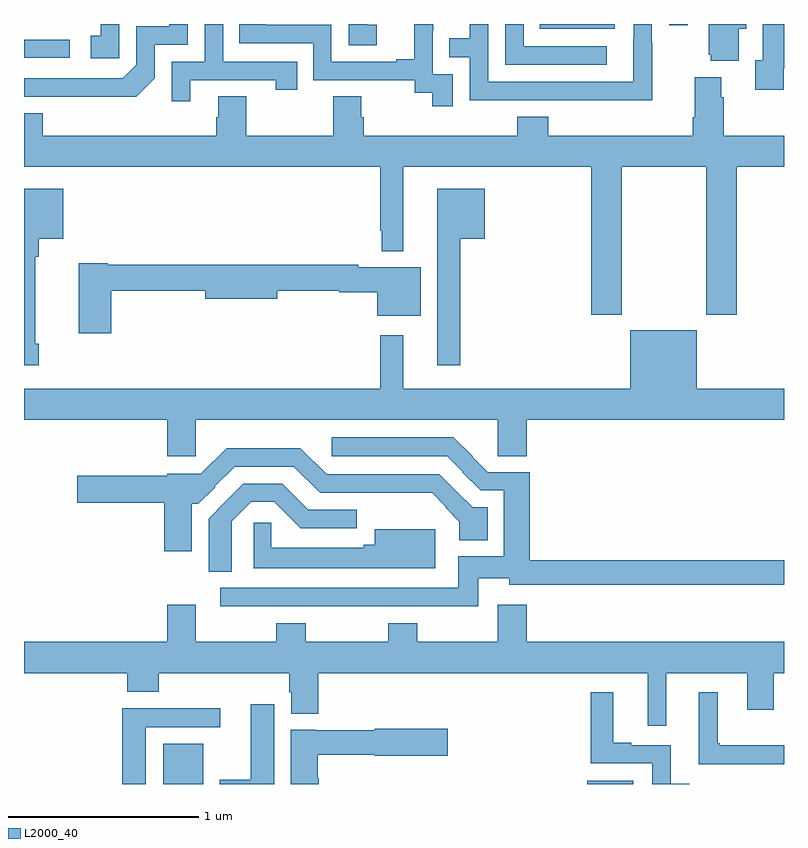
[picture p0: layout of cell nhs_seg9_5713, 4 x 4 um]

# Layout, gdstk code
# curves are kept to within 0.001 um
import gdstk
lib = gdstk.Library(unit=1e-6, precision=1e-09)
def R(c, l, rs):  # rectangles x0, y0, x1, y1
    for r in rs: c.add(gdstk.rectangle(r[:2], r[2:], *l))
def P(c, l, *ps):  # polygons
    for p in ps: c.add(gdstk.Polygon(p, *l))
L2000_40 = (2000, 40)

nhs_seg9_5713 = lib.new_cell('nhs_seg9_5713')
R(nhs_seg9_5713, L2000_40, [(443.732,1198.5,443.944,1198.711), (445.964,1198.5,446.206,1198.516), (443,1202.322,443.242,1202.418), (445.714,1202.474,446.11,1202.5), (446.397,1202.493,446.493,1202.5)])
P(nhs_seg9_5713, L2000_40, [(443.688,1202.214),(443.688,1202.391),(443.862,1202.391),(443.862,1202.5),(443.765,1202.5),(443.765,1202.487),(443.592,1202.487),(443.592,1202.286),(443.52,1202.214),(443,1202.214),(443,1202.118),(443.59,1202.117)],
  [(445.257,1202.235),(445.152,1202.235),(445.152,1202.465),(445.154,1202.465),(445.154,1202.5),(445.055,1202.5),(445.055,1202.314),(444.959,1202.314),(444.959,1202.301),(444.618,1202.301),(444.618,1202.496),(444.273,1202.496),(444.273,1202.5),(444.133,1202.5),(444.133,1202.4),(444.522,1202.4),(444.522,1202.205),(445.056,1202.205),(445.056,1202.137),(445.149,1202.137),(445.149,1202.067),(445.257,1202.067)],
  [(446.068,1202.382),(445.629,1202.382),(445.629,1202.5),(445.533,1202.5),(445.533,1202.286),(446.068,1202.286)],
  [(443.502,1202.5),(443.405,1202.5),(443.405,1202.439),(443.352,1202.439),(443.352,1202.319),(443.502,1202.319)],
  [(446.307,1202.405),(446.304,1202.405),(446.304,1202.5),(446.208,1202.5),(446.208,1202.426),(446.207,1202.426),(446.207,1202.196),(445.443,1202.196),(445.443,1202.5),(445.347,1202.5),(445.347,1202.426),(445.237,1202.426),(445.237,1202.325),(445.347,1202.325),(445.347,1202.1),(445.843,1202.1),(445.843,1202.099),(446.307,1202.099)],
  [(443.875,1202.205),(444.326,1202.205),(444.326,1202.154),(444.437,1202.154),(444.437,1202.301),(444.048,1202.301),(444.048,1202.5),(443.952,1202.5),(443.952,1202.301),(443.778,1202.301),(443.778,1202.094),(443.875,1202.094)],
  [(444.856,1202.497),(444.807,1202.497),(444.807,1202.5),(444.708,1202.5),(444.708,1202.388),(444.856,1202.388)],
  [(446.998,1202.266),(447,1202.266),(447,1202.5),(446.889,1202.5),(446.889,1202.31),(446.849,1202.31),(446.849,1202.154),(446.998,1202.154)],
  [(446.761,1202.474),(446.8,1202.474),(446.8,1202.5),(446.603,1202.5),(446.603,1202.337),(446.615,1202.337),(446.615,1202.306),(446.761,1202.306)],
  [(444.023,1202.12),(444.023,1202.01),(444.011,1202.01),(444.011,1201.912),(443.099,1201.912),(443.099,1202.029),(443,1202.029),(443,1201.748),(444.876,1201.748),(444.876,1201.411),(444.883,1201.411),(444.883,1201.304),(444.997,1201.304),(444.997,1201.748),(445.985,1201.748),(445.985,1200.969),(446.145,1200.969),(446.145,1201.748),(446.59,1201.748),(446.59,1200.969),(446.75,1200.969),(446.75,1201.748),(447,1201.748),(447,1201.912),(446.684,1201.912),(446.684,1202.114),(446.671,1202.114),(446.671,1202.221),(446.531,1202.221),(446.531,1202.008),(446.519,1202.008),(446.519,1201.912),(445.76,1201.912),(445.76,1202.011),(445.595,1202.011),(445.595,1201.912),(444.788,1201.912),(444.788,1202.01),(444.775,1202.01),(444.775,1202.12),(444.628,1202.12),(444.628,1201.912),(444.171,1201.912),(444.171,1202.12)],
  [(443.077,1200.817),(443.059,1200.817),(443.059,1201.274),(443.077,1201.274),(443.077,1201.37),(443.206,1201.37),(443.206,1201.633),(443,1201.633),(443,1200.705),(443.077,1200.705)],
  [(445.297,1201.37),(445.426,1201.37),(445.426,1201.633),(445.175,1201.633),(445.175,1200.705),(445.297,1200.705)],
  [(443.459,1201.096),(443.954,1201.096),(443.954,1201.054),(444.334,1201.054),(444.334,1201.096),(444.66,1201.096),(444.66,1201.088),(444.86,1201.088),(444.86,1200.965),(445.087,1200.965),(445.087,1201.219),(444.76,1201.219),(444.76,1201.232),(443.442,1201.232),(443.442,1201.24),(443.288,1201.24),(443.288,1200.873),(443.459,1200.873)],
  [(443.903,1200.416),(445.494,1200.416),(445.494,1200.226),(445.646,1200.226),(445.646,1200.416),(447,1200.416),(447,1200.58),(446.542,1200.58),(446.542,1200.889),(446.192,1200.889),(446.192,1200.58),(444.997,1200.58),(444.997,1200.862),(444.876,1200.862),(444.876,1200.58),(443,1200.58),(443,1200.416),(443.753,1200.416),(443.753,1200.225),(443.903,1200.225)],
  [(444.827,1199.436),(445.39,1199.435),(445.39,1199.582),(445.554,1199.582),(445.554,1199.55),(447,1199.55),(447,1199.678),(445.661,1199.678),(445.661,1200.141),(445.44,1200.141),(445.359,1200.222),(445.361,1200.224),(445.26,1200.325),(444.621,1200.325),(444.621,1200.225),(445.227,1200.225),(445.308,1200.144),(445.306,1200.142),(445.403,1200.045),(445.526,1200.045),(445.526,1199.698),(445.286,1199.698),(445.286,1199.532),(444.033,1199.532),(444.033,1199.436)],
  [(443.884,1199.976),(443.918,1199.976),(444.006,1200.063),(444.003,1200.066),(444.108,1200.171),(444.42,1200.171),(444.558,1200.033),(445.148,1200.032),(445.222,1199.957),(445.219,1199.954),(445.292,1199.881),(445.292,1199.784),(445.441,1199.784),(445.441,1199.956),(445.361,1199.956),(445.186,1200.129),(444.594,1200.129),(444.455,1200.268),(444.067,1200.268),(443.931,1200.132),(443.754,1200.132),(443.754,1200.123),(443.28,1200.123),(443.28,1199.981),(443.738,1199.981),(443.738,1199.724),(443.884,1199.724)],
  [(444.094,1199.884),(444.195,1199.985),(444.318,1199.985),(444.456,1199.847),(444.751,1199.847),(444.751,1199.943),(444.496,1199.943),(444.358,1200.081),(444.155,1200.081),(443.972,1199.897),(443.972,1199.617),(444.094,1199.617)],
  [(445.164,1199.842),(444.845,1199.842),(444.845,1199.758),(444.789,1199.758),(444.789,1199.743),(444.302,1199.743),(444.302,1199.875),(444.208,1199.875),(444.208,1199.636),(445.164,1199.636)],
  [(446.38,1199.084),(446.807,1199.084),(446.807,1198.89),(446.947,1198.89),(446.947,1199.084),(447,1199.084),(447,1199.248),(445.646,1199.248),(445.646,1199.443),(445.493,1199.443),(445.493,1199.248),(445.071,1199.248),(445.071,1199.347),(444.916,1199.347),(444.916,1199.248),(444.483,1199.248),(444.483,1199.347),(444.328,1199.347),(444.328,1199.248),(443.905,1199.248),(443.905,1199.443),(443.753,1199.443),(443.753,1199.248),(443,1199.248),(443,1199.084),(443.543,1199.084),(443.543,1198.985),(443.708,1198.985),(443.708,1199.084),(444.395,1199.084),(444.395,1198.983),(444.407,1198.983),(444.407,1198.871),(444.548,1198.871),(444.548,1199.084),(446.282,1199.084),(446.282,1198.806),(446.38,1198.806)],
  [(447,1198.703),(446.662,1198.703),(446.662,1198.714),(446.65,1198.714),(446.65,1198.984),(446.552,1198.984),(446.552,1198.605),(447,1198.605)],
  [(446.5,1198.502),(446.404,1198.502),(446.404,1198.704),(446.197,1198.704),(446.197,1198.717),(446.101,1198.717),(446.101,1198.984),(445.983,1198.984),(445.983,1198.608),(446.307,1198.608),(446.307,1198.5),(446.5,1198.5)],
  [(444.316,1198.921),(444.194,1198.921),(444.194,1198.522),(444.029,1198.522),(444.029,1198.5),(444.316,1198.5)],
  [(443.641,1198.8),(444.034,1198.8),(444.034,1198.898),(443.516,1198.898),(443.516,1198.5),(443.641,1198.5)],
  [(444.551,1198.529),(444.546,1198.529),(444.546,1198.654),(444.846,1198.654),(444.846,1198.649),(445.231,1198.649),(445.231,1198.791),(444.846,1198.791),(444.846,1198.783),(444.534,1198.783),(444.534,1198.786),(444.404,1198.786),(444.404,1198.5),(444.551,1198.5)])

lib.write_gds('nhs_seg9_5713.gds')
